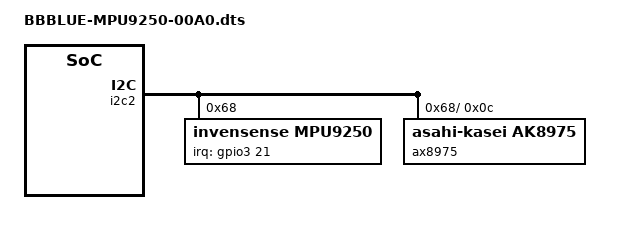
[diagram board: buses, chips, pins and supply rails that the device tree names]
/*
 * Copyright (C) 2012,2019 Texas Instruments Incorporated - http://www.ti.com/
 *
 * This program is free software; you can redistribute it and/or modify
 * it under the terms of the GNU General Public License version 2 as
 * published by the Free Software Foundation.
 *
 */

/dts-v1/;
/plugin/;

#include <dt-bindings/interrupt-controller/irq.h>

/ {
	/*
	 * Helper to show loaded overlays under: /proc/device-tree/chosen/overlays/
	 */
	fragment@0 {
		target-path="/";
		__overlay__ {

			chosen {
				overlays {
					BBBLUE-MPU9250-00A0 = __TIMESTAMP__;
				};
			};
		};
	};

	fragment@1 {
		target = <&i2c2>;
		__overlay__ {
			#address-cells = <1>;
			#size-cells = <0>;

			mpu9250@68 {
				compatible = "invensense,mpu9250";
				reg = <0x68>;
				interrupt-parent = <&gpio3>;
				interrupts = <21 IRQ_TYPE_LEVEL_HIGH>;
				i2c-gate {
					#address-cells = <1>;
					#size-cells = <0>;
					ax8975@c {
						compatible = "asahi-kasei,ak8975";
						reg = <0x0c>;
					};
				};
			};
		};
	};
};
